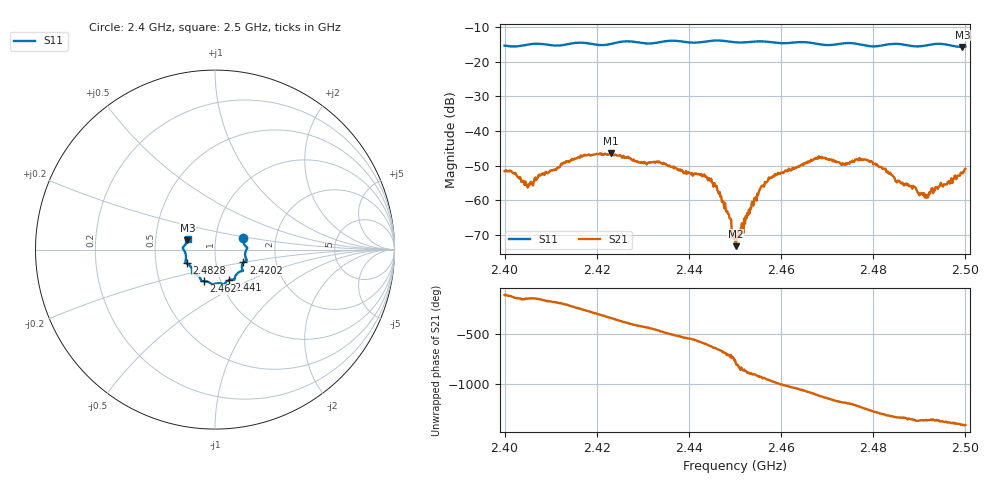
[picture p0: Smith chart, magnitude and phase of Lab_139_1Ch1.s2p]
# Hz S RI R 50
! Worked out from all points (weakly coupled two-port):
!   601 points, 2.4 GHz to 2.5 GHz, reference 50 ohm
!   highest |S21| = -46.35 dB at 2.423 GHz (marker M1); lowest = -73.2 dB at 2.4502 GHz (marker M2)
!   lowest |S11| = -15.8 dB at 2.4993 GHz (marker M3), VSWR 1.39, Z = 36.5 + j3.92 ohm
!   |S11| at or under -10 dB: start of sweep to end of sweep
!   S12 and S22 are empty: the file has one direction only
!   S11 on the Smith chart (normalised r, x): 2.4 GHz: 1.36, +0.17; 2.4202 GHz: 1.36, -0.20; 2.441 GHz: 1.10, -0.39; 2.462 GHz: 0.83, -0.30; 2.4828 GHz: 0.72, -0.11; 2.5 GHz: 0.73, +0.09
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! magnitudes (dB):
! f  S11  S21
! 2.4 GHz  -15.4  -51.6
! 2.4052 GHz  -15.1  -56.0
! 2.4167 GHz  -14.6  -47.3
! 2.4202 GHz  -15.2  -46.7
! 2.423 GHz  -14.9  -46.4
! 2.4333 GHz  -14.5  -49.1
! 2.441 GHz  -14.6  -52.6
! 2.4435 GHz  -14.3  -53.2
! 2.446 GHz  -13.9  -55.8
! 2.4487 GHz  -14.2  -64.1
! 2.45 GHz  -14.4  -70.0
! 2.4502 GHz  -14.5  -73.2
! 2.456 GHz  -14.2  -55.9
! 2.462 GHz  -14.6  -51.2
! 2.4667 GHz  -14.6  -48.7
! 2.4737 GHz  -14.8  -49.6
! 2.4785 GHz  -15.4  -48.3
! 2.4828 GHz  -15.1  -51.7
! 2.4833 GHz  -15.0  -52.2
! 2.4915 GHz  -15.3  -59.3
! 2.4993 GHz  -15.8  -52.0
! 2.5 GHz  -15.7  -50.9
